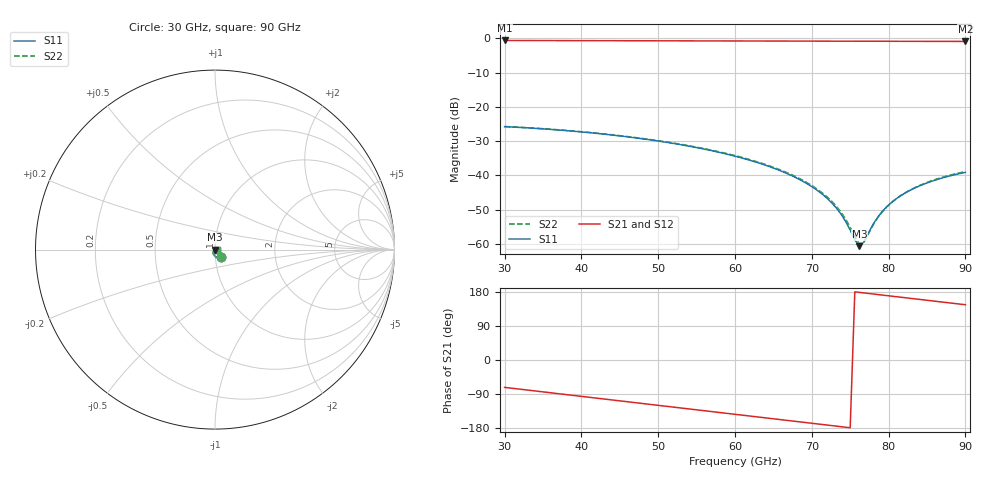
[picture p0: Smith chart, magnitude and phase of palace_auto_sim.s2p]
#  GHZ S DB R 50
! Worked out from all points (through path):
!   101 points, 30 GHz to 90 GHz, reference 50 ohm
!   highest |S21| = -0.59 dB at 30 GHz (marker M1); lowest = -0.9 dB at 90 GHz (marker M2)
!   group delay of S21, straight-line fit = 6.57 ps
!   lowest |S11| = -60.7 dB at 76.2 GHz (marker M3), VSWR 1.00, Z = 50 - j0.0898 ohm
!   |S11| at or under -10 dB: start of sweep to end of sweep
!   |S22| runs from -60.1 to -25.7 dB; largest |S21 - S12| = 1.1e-14
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30  -25.78 -52.2  -0.59 -72.2  -0.59 -72.2  -25.75 -52.3
35.4  -26.49 -65.0  -0.62 -85.1  -0.62 -85.1  -26.44 -65.1
40.2  -27.37 -76.4  -0.64 -96.4  -0.64 -96.4  -27.30 -76.5
45  -28.49 -87.7  -0.66 -107.8  -0.66 -107.8  -28.41 -87.9
50.4  -30.13 -100.3  -0.69 -120.6  -0.69 -120.6  -30.02 -100.5
60  -34.42 -122.2  -0.73 -143.3  -0.73 -143.3  -34.25 -122.5
66  -38.75 -134.7  -0.76 -157.5  -0.76 -157.5  -38.52 -135.0
68.4  -41.23 -138.9  -0.77 -163.2  -0.77 -163.2  -40.95 -139.1
70.2  -43.61 -141.2  -0.78 -167.4  -0.78 -167.4  -43.28 -141.5
72  -46.74 -141.9  -0.79 -171.7  -0.79 -171.7  -46.34 -142.2
73.2  -49.56 -140.2  -0.80 -174.5  -0.80 -174.5  -49.06 -140.7
74.4  -53.46 -133.4  -0.80 -177.4  -0.80 -177.4  -52.78 -134.4
75.6  -58.88 -108.0  -0.81 179.8  -0.81 179.8  -57.95 -112.0
76.2  -60.72 -77.1  -0.81 178.4  -0.81 178.4  -60.06 -84.6
76.8  -59.46 -44.4  -0.81 177.0  -0.81 177.0  -59.45 -51.5
78  -54.26 -15.7  -0.82 174.1  -0.82 174.1  -54.45 -18.9
78.6  -52.21 -10.8  -0.82 172.7  -0.82 172.7  -52.34 -13.2
80.4  -47.90 -6.1  -0.83 168.5  -0.83 168.5  -47.91 -7.6
82.2  -45.12 -6.6  -0.84 164.2  -0.84 164.2  -45.06 -7.7
84.6  -42.58 -9.5  -0.85 158.6  -0.85 158.6  -42.44 -10.6
87  -40.77 -13.6  -0.86 152.9  -0.86 152.9  -40.59 -14.5
90  -39.14 -19.2  -0.87 145.8  -0.87 145.8  -38.91 -20.1
